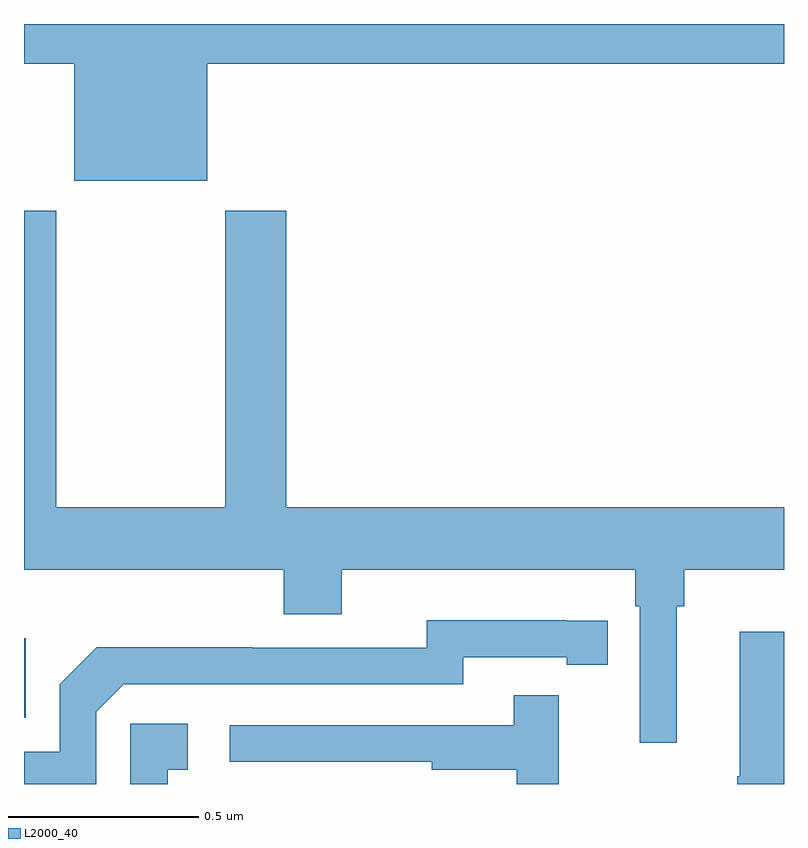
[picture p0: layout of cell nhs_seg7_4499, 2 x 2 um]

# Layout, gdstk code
import gdstk
lib = gdstk.Library(unit=1e-6, precision=1e-09)
def R(c, l, rs):  # rectangles x0, y0, x1, y1
    for r in rs: c.add(gdstk.rectangle(r[:2], r[2:], *l))
def P(c, l, *ps):  # polygons
    for p in ps: c.add(gdstk.Polygon(p, *l))
L2000_40 = (2000, 40)

nhs_seg7_4499 = lib.new_cell('nhs_seg7_4499')
R(nhs_seg7_4499, L2000_40, [(173,1052.175,173.004,1052.383)])
P(nhs_seg7_4499, L2000_40, [(173.482,1053.896),(175,1053.896),(175,1054),(173,1054),(173,1053.896),(173.132,1053.896),(173.132,1053.587),(173.482,1053.587)],
  [(174.718,1052.468),(174.737,1052.468),(174.737,1052.564),(175,1052.564),(175,1052.728),(173.69,1052.728),(173.69,1053.508),(173.53,1053.508),(173.53,1052.728),(173.085,1052.728),(173.085,1053.508),(173,1053.508),(173,1052.564),(173.684,1052.564),(173.684,1052.447),(173.836,1052.447),(173.836,1052.564),(174.608,1052.564),(174.608,1052.468),(174.621,1052.468),(174.621,1052.109),(174.718,1052.109)],
  [(173.19,1052.19),(173.262,1052.262),(174.156,1052.262),(174.156,1052.334),(174.428,1052.334),(174.428,1052.314),(174.536,1052.314),(174.536,1052.43),(174.428,1052.43),(174.428,1052.431),(174.06,1052.431),(174.06,1052.358),(173.6,1052.358),(173.6,1052.36),(173.192,1052.36),(173.094,1052.262),(173.094,1052.085),(173,1052.085),(173,1052),(173.19,1052)],
  [(175,1052.401),(174.884,1052.401),(174.884,1052.021),(174.877,1052.021),(174.877,1052),(175,1052)],
  [(174.407,1052.233),(174.289,1052.233),(174.289,1052.154),(173.541,1052.154),(173.541,1052.058),(174.073,1052.058),(174.073,1052.038),(174.297,1052.038),(174.297,1052),(174.407,1052)],
  [(173.378,1052.037),(173.431,1052.037),(173.431,1052.158),(173.28,1052.158),(173.28,1052),(173.378,1052)])

lib.write_gds('nhs_seg7_4499.gds')
